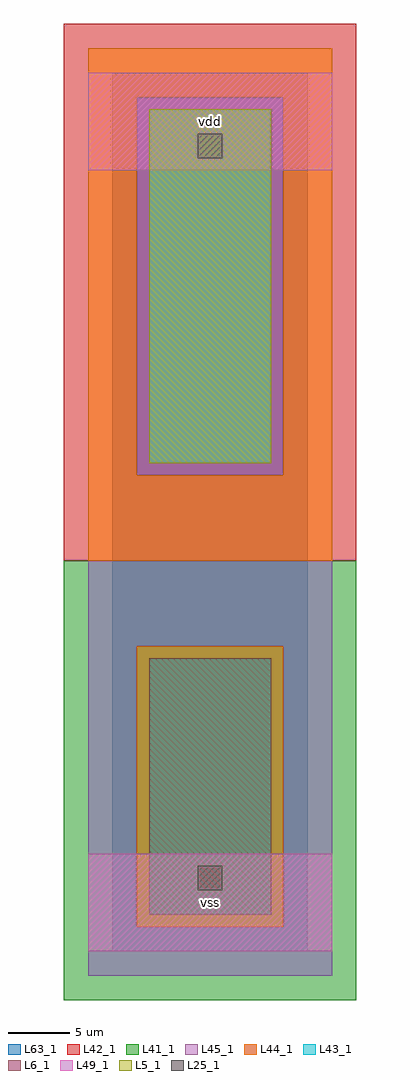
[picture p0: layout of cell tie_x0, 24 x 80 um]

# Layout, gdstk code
import gdstk
lib = gdstk.Library(unit=1e-6, precision=1e-09)
def R(c, l, rs):  # rectangles x0, y0, x1, y1
    for r in rs: c.add(gdstk.rectangle(r[:2], r[2:], *l))
L5_1 = (5, 1)
L6_1 = (6, 1)
L25_1 = (25, 1)
L41_1 = (41, 1)
L42_1 = (42, 1)
L43_1 = (43, 1)
L44_1 = (44, 1)
L45_1 = (45, 1)
L49_1 = (49, 1)
L63_1 = (63, 1)

tie_x0 = lib.new_cell('tie_x0')
R(tie_x0, L5_1, [(3,40,13,69)])
R(tie_x0, L6_1, [(3,3,13,24), (3,3,13,24)])
R(tie_x0, L25_1, [(7,5,9,7), (7,65,9,67)])
R(tie_x0, L41_1, [(-4,-4,20,32)])
R(tie_x0, L42_1, [(-4,32,20,76)])
R(tie_x0, L43_1, [(3,3,13,24), (3,40,13,69)])
R(tie_x0, L44_1, [(2,2,14,25), (-2,32,18,39), (-2,39,2,70), (14,39,18,70), (-2,70,18,74)])
R(tie_x0, L45_1, [(-2,-2,18,2), (-2,2,2,25), (14,2,18,25), (-2,25,18,32), (2,39,14,70)])
R(tie_x0, L49_1, [(-2,0,18,8), (-2,64,18,72)])
R(tie_x0, L63_1, [(0,0,16,72)])
tie_x0.add(gdstk.Label('vss', (8,4), layer=49, texttype=1))
tie_x0.add(gdstk.Label('vdd', (8,68), layer=49, texttype=1))

lib.write_gds('tie_x0.gds')
